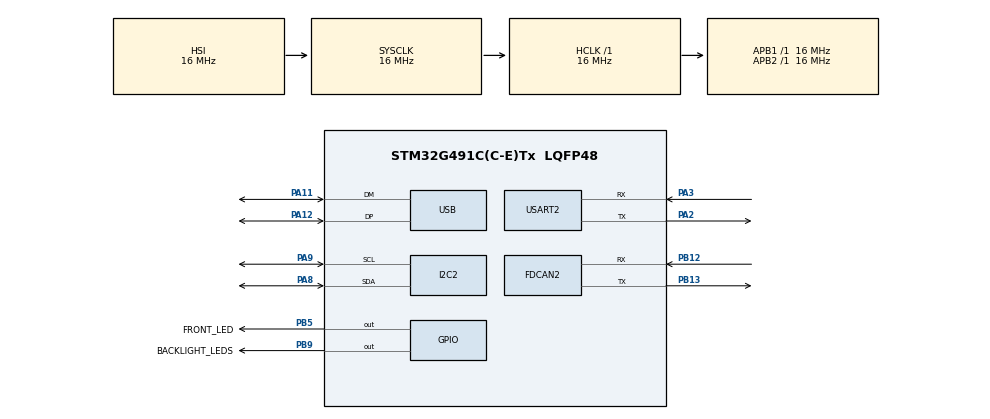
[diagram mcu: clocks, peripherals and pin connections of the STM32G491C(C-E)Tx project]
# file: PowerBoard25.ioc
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FDCAN2.CalculateBaudRateNominal=200000
FDCAN2.CalculateTimeBitNominal=5000
FDCAN2.CalculateTimeQuantumNominal=62.5
FDCAN2.DataSyncJumpWidth=4
FDCAN2.DataTimeSeg1=13
FDCAN2.DataTimeSeg2=2
FDCAN2.ExtFiltersNbr=1
FDCAN2.FrameFormat=FDCAN_FRAME_FD_BRS
FDCAN2.NominalPrescaler=1
FDCAN2.NominalSyncJumpWidth=16
FDCAN2.NominalTimeSeg1=63
FDCAN2.NominalTimeSeg2=16
FDCAN2.StdFiltersNbr=1
FREERTOS.Queues01=sensorQueue,16,uint16_t,0,Dynamic,NULL,NULL
FREERTOS.Tasks01=blinkLED,24,700,StartBlink,Default,NULL,Dynamic,NULL,NULL;readVoltageTask,24,700,startReadVoltageTask,Default,NULL,Dynamic,NULL,NULL;sendMessage,24,700,StartSendMessage,Default,NULL,Dynamic,NULL,NULL
FREERTOS.configENABLE_FPU=1
FREERTOS.configMINIMAL_STACK_SIZE=700
FREERTOS.configTOTAL_HEAP_SIZE=12000
FREERTOS.configUSE_NEWLIB_REENTRANT=1
I2C2.Timing=0x00503D58
Mcu.Family=STM32G4
Mcu.Name=STM32G491C(C-E)Tx
Mcu.Package=LQFP48
NVIC.PriorityGroup=NVIC_PRIORITYGROUP_4
NVIC.TIM1_UP_TIM16_IRQn=true\:15\:0\:false\:false\:true\:false\:false\:true\:true
NVIC.TimeBase=TIM1_UP_TIM16_IRQn
NVIC.TimeBaseIP=TIM1
NVIC.USB_LP_IRQn=true\:5\:0\:false\:false\:true\:true\:false\:true\:true
PA11.Mode=Device
PA11.Signal=USB_DM
PA12.Mode=Device
PA12.Signal=USB_DP
PA13.Mode=JTAG_5_pins
PA13.Signal=SYS_JTMS-SWDIO
PA14.Mode=JTAG_5_pins
PA14.Signal=SYS_JTCK-SWCLK
PA15.Mode=JTAG_5_pins
PA15.Signal=SYS_JTDI
PA2.Mode=Asynchronous
PA2.Signal=USART2_TX
PA3.Mode=Asynchronous
PA3.Signal=USART2_RX
PA8.Mode=I2C
PA8.Signal=I2C2_SDA
PA9.Mode=I2C
PA9.Signal=I2C2_SCL
PB12.Mode=FDCAN_Activate
PB12.Signal=FDCAN2_RX
PB13.Mode=FDCAN_Activate
PB13.Signal=FDCAN2_TX
PB3.Mode=JTAG_5_pins
PB3.Signal=SYS_JTDO-SWO
PB4.Mode=JTAG_5_pins
PB4.Signal=SYS_JTRST
PB5.GPIO_Label=FRONT_LED
PB5.Signal=GPIO_Output
PB9.GPIO_FM9=SYSCFG_FASTMODEPLUS_PB9
PB9.GPIO_Label=BACKLIGHT_LEDS
PB9.PinState=GPIO_PIN_RESET
PB9.Signal=GPIO_Output
PC14-OSC32_IN.Mode=LSE-External-Oscillator
PC14-OSC32_IN.Signal=RCC_OSC32_IN
PC15-OSC32_OUT.Mode=LSE-External-Oscillator
PC15-OSC32_OUT.Signal=RCC_OSC32_OUT
PF0-OSC_IN.Mode=HSE-External-Oscillator
PF0-OSC_IN.Signal=RCC_OSC_IN
PF1-OSC_OUT.Mode=HSE-External-Oscillator
PF1-OSC_OUT.Signal=RCC_OSC_OUT
ProjectManager.HeapSize=0x200
ProjectManager.StackSize=0x400
ProjectManager.TargetToolchain=CMake
RCC.AHBFreq_Value=16000000
RCC.APB1Freq_Value=16000000
RCC.APB1TimFreq_Value=16000000
RCC.APB2Freq_Value=16000000
RCC.APB2TimFreq_Value=16000000
RCC.CortexFreq_Value=16000000
RCC.EXTERNAL_CLOCK_VALUE=12288000
RCC.HCLKFreq_Value=16000000
RCC.HSE_VALUE=8000000
RCC.HSI48_VALUE=48000000
RCC.HSI_VALUE=16000000
RCC.SYSCLKFreq_VALUE=16000000
RCC.VCOOutputFreq_Value=128000000
USART2.VirtualMode-Asynchronous=VM_ASYNC
USB_DEVICE.CLASS_NAME_FS=CDC
USB_DEVICE.VirtualMode=Cdc
USB_DEVICE.VirtualModeFS=Cdc_FS
VP_FREERTOS_VS_CMSIS_V2.Mode=CMSIS_V2
VP_SYS_VS_DBSignals.Mode=DisableDeadBatterySignals
VP_SYS_VS_tim1.Mode=TIM1
VP_USB_DEVICE_VS_USB_DEVICE_CDC_FS.Mode=CDC_FS
board=custom

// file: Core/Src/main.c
/* USER CODE BEGIN Header */
/**
 ******************************************************************************
 * @file           : main.c
 * @brief          : Main program body
 ******************************************************************************
 * @attention
 *
 * Copyright (c) 2025 STMicroelectronics.
 * All rights reserved.
 *
 * This software is licensed under terms that can be found in the LICENSE file
 * in the root directory of this software component.
 * If no LICENSE file comes with this software, it is provided AS-IS.
 *
 ******************************************************************************
 */
/* USER CODE END Header */
#include "main.h"
#include "cmsis_os.h"
#include "usb_device.h"

/* USER CODE BEGIN Includes */
#include "Drivers/ltc2990.h"
#include "usbd_cdc_if.h"
#include <stdarg.h>
/* USER CODE END Includes */

/* USER CODE BEGIN PTD */
typedef struct
{
  float voltages[4];
} instrumentationPayload_t;
/* USER CODE END PTD */

/* USER CODE BEGIN PM */
#define PRINT_BUFFER_SIZE 100
/* USER CODE END PM */

FDCAN_HandleTypeDef hfdcan2;

I2C_HandleTypeDef hi2c2;

UART_HandleTypeDef huart2;

/* Definitions for blinkLED */
osThreadId_t blinkLEDHandle;
const osThreadAttr_t blinkLED_attributes = {
  .name = "blinkLED",
  .priority = (osPriority_t) osPriorityNormal,
  .stack_size = 700 * 4
};
/* Definitions for readVoltageTask */
osThreadId_t readVoltageTaskHandle;
const osThreadAttr_t readVoltageTask_attributes = {
  .name = "readVoltageTask",
  .priority = (osPriority_t) osPriorityNormal,
  .stack_size = 700 * 4
};
/* Definitions for sendMessage */
osThreadId_t sendMessageHandle;
const osThreadAttr_t sendMessage_attributes = {
  .name = "sendMessage",
  .priority = (osPriority_t) osPriorityNormal,
  .stack_size = 700 * 4
};
/* Definitions for sensorQueue */
osMessageQueueId_t sensorQueueHandle;
const osMessageQueueAttr_t sensorQueue_attributes = {
  .name = "sensorQueue"
};
/* USER CODE BEGIN PV */

LTC2990_Handle_t LTC2990_Handle;

/* USER CODE END PV */

void SystemClock_Config(void);
static void MX_GPIO_Init(void);
static void MX_FDCAN2_Init(void);
static void MX_I2C2_Init(void);
static void MX_USART2_UART_Init(void);
void StartBlink(void *argument);
void startReadVoltageTask(void *argument);
void StartSendMessage(void *argument);

/* USER CODE BEGIN 0 */

void CDC_Transmit_Print(const char *format, ...)
{
    char buf[PRINT_BUFFER_SIZE];
    va_list  args;
    va_start(args, format);
    int len = vsnprintf(buf, sizeof(buf), format, args);
    va_end(args);
    if (len <= 0) {
        return;
    }
    if (len > (PRINT_BUFFER_SIZE - 1)) {
        len = PRINT_BUFFER_SIZE - 1;
    }
    CDC_Transmit_FS((uint8_t*)buf, (uint16_t)len);
}

/* USER CODE END 0 */

int main(void)
{

  /* MCU Configuration--------------------------------------------------------*/

  /* Reset of all peripherals, Initializes the Flash interface and the Systick. */
  HAL_Init();

  /* Configure the system clock */
  SystemClock_Config();

  /* Initialize all configured peripherals */
  MX_GPIO_Init();
  MX_FDCAN2_Init();
  MX_I2C2_Init();
  MX_USART2_UART_Init();
  /* USER CODE BEGIN 2 */

  HAL_FDCAN_Start(&hfdcan2);

  /* USER CODE END 2 */

  /* Init scheduler */
  osKernelInitialize();

  /* Create the queue(s) */
  /* creation of sensorQueue */
  sensorQueueHandle = osMessageQueueNew (16, sizeof(uint16_t), &sensorQueue_attributes);

  /* Create the thread(s) */
  /* creation of blinkLED */
  blinkLEDHandle = osThreadNew(StartBlink, NULL, &blinkLED_attributes);

  /* creation of readVoltageTask */
  readVoltageTaskHandle = osThreadNew(startReadVoltageTask, NULL, &readVoltageTask_attributes);

  /* creation of sendMessage */
  sendMessageHandle = osThreadNew(StartSendMessage, NULL, &sendMessage_attributes);

  /* Start scheduler */
  osKernelStart();

  /* We should never get here as control is now taken by the scheduler */

  /* Infinite loop */
  while (1)
  {

  }
}

void SystemClock_Config(void)
{
  RCC_OscInitTypeDef RCC_OscInitStruct = {0};
  RCC_ClkInitTypeDef RCC_ClkInitStruct = {0};

  /** Configure the main internal regulator output voltage
  */
  HAL_PWREx_ControlVoltageScaling(PWR_REGULATOR_VOLTAGE_SCALE1);

  /** Initializes the RCC Oscillators according to the specified parameters
  * in the RCC_OscInitTypeDef structure.
  */
  RCC_OscInitStruct.OscillatorType = RCC_OSCILLATORTYPE_HSI|RCC_OSCILLATORTYPE_HSI48;
  RCC_OscInitStruct.HSIState = RCC_HSI_ON;
  RCC_OscInitStruct.HSICalibrationValue = RCC_HSICALIBRATION_DEFAULT;
  RCC_OscInitStruct.HSI48State = RCC_HSI48_ON;
  RCC_OscInitStruct.PLL.PLLState = RCC_PLL_NONE;
  if (HAL_RCC_OscConfig(&RCC_OscInitStruct) != HAL_OK)
  {
    Error_Handler();
  }

  /** Initializes the CPU, AHB and APB buses clocks
  */
  RCC_ClkInitStruct.ClockType = RCC_CLOCKTYPE_HCLK|RCC_CLOCKTYPE_SYSCLK
                              |RCC_CLOCKTYPE_PCLK1|RCC_CLOCKTYPE_PCLK2;
  RCC_ClkInitStruct.SYSCLKSource = RCC_SYSCLKSOURCE_HSI;
  RCC_ClkInitStruct.AHBCLKDivider = RCC_SYSCLK_DIV1;
  RCC_ClkInitStruct.APB1CLKDivider = RCC_HCLK_DIV1;
  RCC_ClkInitStruct.APB2CLKDivider = RCC_HCLK_DIV1;

  if (HAL_RCC_ClockConfig(&RCC_ClkInitStruct, FLASH_LATENCY_0) != HAL_OK)
  {
    Error_Handler();
  }
}

static void MX_FDCAN2_Init(void)
{

  hfdcan2.Instance = FDCAN2;
  hfdcan2.Init.ClockDivider = FDCAN_CLOCK_DIV1;
  hfdcan2.Init.FrameFormat = FDCAN_FRAME_FD_BRS;
  hfdcan2.Init.Mode = FDCAN_MODE_NORMAL;
  hfdcan2.Init.AutoRetransmission = DISABLE;
  hfdcan2.Init.TransmitPause = DISABLE;
  hfdcan2.Init.ProtocolException = DISABLE;
  hfdcan2.Init.NominalPrescaler = 1;
  hfdcan2.Init.NominalSyncJumpWidth = 16;
  hfdcan2.Init.NominalTimeSeg1 = 63;
  hfdcan2.Init.NominalTimeSeg2 = 16;
  hfdcan2.Init.DataPrescaler = 1;
  hfdcan2.Init.DataSyncJumpWidth = 4;
  hfdcan2.Init.DataTimeSeg1 = 13;
  hfdcan2.Init.DataTimeSeg2 = 2;
  hfdcan2.Init.StdFiltersNbr = 1;
  hfdcan2.Init.ExtFiltersNbr = 1;
  hfdcan2.Init.TxFifoQueueMode = FDCAN_TX_FIFO_OPERATION;
  if (HAL_FDCAN_Init(&hfdcan2) != HAL_OK)
  {
    Error_Handler();
  }

}

static void MX_I2C2_Init(void)
{

  hi2c2.Instance = I2C2;
  hi2c2.Init.Timing = 0x00503D58;
  hi2c2.Init.OwnAddress1 = 0;
  hi2c2.Init.AddressingMode = I2C_ADDRESSINGMODE_7BIT;
  hi2c2.Init.DualAddressMode = I2C_DUALADDRESS_DISABLE;
  hi2c2.Init.OwnAddress2 = 0;
  hi2c2.Init.OwnAddress2Masks = I2C_OA2_NOMASK;
  hi2c2.Init.GeneralCallMode = I2C_GENERALCALL_DISABLE;
  hi2c2.Init.NoStretchMode = I2C_NOSTRETCH_DISABLE;
  if (HAL_I2C_Init(&hi2c2) != HAL_OK)
  {
    Error_Handler();
  }

  /** Configure Analogue filter
  */
  if (HAL_I2CEx_ConfigAnalogFilter(&hi2c2, I2C_ANALOGFILTER_ENABLE) != HAL_OK)
  {
    Error_Handler();
  }

  /** Configure Digital filter
  */
  if (HAL_I2CEx_ConfigDigitalFilter(&hi2c2, 0) != HAL_OK)
  {
    Error_Handler();
  }

}

static void MX_USART2_UART_Init(void)
{

  huart2.Instance = USART2;
  huart2.Init.BaudRate = 115200;
  huart2.Init.WordLength = UART_WORDLENGTH_8B;
  huart2.Init.StopBits = UART_STOPBITS_1;
  huart2.Init.Parity = UART_PARITY_NONE;
  huart2.Init.Mode = UART_MODE_TX_RX;
  huart2.Init.HwFlowCtl = UART_HWCONTROL_NONE;
  huart2.Init.OverSampling = UART_OVERSAMPLING_16;
  huart2.Init.OneBitSampling = UART_ONE_BIT_SAMPLE_DISABLE;
  huart2.Init.ClockPrescaler = UART_PRESCALER_DIV1;
  huart2.AdvancedInit.AdvFeatureInit = UART_ADVFEATURE_NO_INIT;
  if (HAL_UART_Init(&huart2) != HAL_OK)
  {
    Error_Handler();
  }
  if (HAL_UARTEx_SetTxFifoThreshold(&huart2, UART_TXFIFO_THRESHOLD_1_8) != HAL_OK)
  {
    Error_Handler();
  }
  if (HAL_UARTEx_SetRxFifoThreshold(&huart2, UART_RXFIFO_THRESHOLD_1_8) != HAL_OK)
  {
    Error_Handler();
  }
  if (HAL_UARTEx_DisableFifoMode(&huart2) != HAL_OK)
  {
    Error_Handler();
  }

}

static void MX_GPIO_Init(void)
{
  GPIO_InitTypeDef GPIO_InitStruct = {0};

  /* GPIO Ports Clock Enable */
  __HAL_RCC_GPIOC_CLK_ENABLE();
  __HAL_RCC_GPIOF_CLK_ENABLE();
  __HAL_RCC_GPIOA_CLK_ENABLE();
  __HAL_RCC_GPIOB_CLK_ENABLE();

  /*Configure GPIO pin Output Level */
  HAL_GPIO_WritePin(GPIOB, FRONT_LED_Pin|BACKLIGHT_LEDS_Pin, GPIO_PIN_RESET);

  /*Configure GPIO pins : FRONT_LED_Pin BACKLIGHT_LEDS_Pin */
  GPIO_InitStruct.Pin = FRONT_LED_Pin|BACKLIGHT_LEDS_Pin;
  GPIO_InitStruct.Mode = GPIO_MODE_OUTPUT_PP;
  GPIO_InitStruct.Pull = GPIO_NOPULL;
  GPIO_InitStruct.Speed = GPIO_SPEED_FREQ_LOW;
  HAL_GPIO_Init(GPIOB, &GPIO_InitStruct);

  /**/
  __HAL_SYSCFG_FASTMODEPLUS_ENABLE(SYSCFG_FASTMODEPLUS_PB9);

}

void StartBlink(void *argument)
{
  /* init code for USB_Device */
  MX_USB_Device_Init();
  /* USER CODE BEGIN 5 */
  /* Infinite loop */
  for (;;)
  {
    HAL_GPIO_TogglePin(FRONT_LED_GPIO_Port, FRONT_LED_Pin);
    osDelay(100);
  }
  /* USER CODE END 5 */
}

void startReadVoltageTask(void *argument)
{
  /* USER CODE BEGIN startReadVoltageTask */
  LTC2990_Init(&LTC2990_Handle, &hi2c2);
  static const float multipliers[4] = {28.0f / 10.0f, 25.0f / 10.0f, 25.0f / 10.0f, 25.0f / 10.0f};
  /* Infinite loop */
  for (;;)
  {
    LTC2990_Step(&LTC2990_Handle);
    float raw[4];
    LTC2990_Get_Voltage(&LTC2990_Handle, raw);
    instrumentationPayload_t payload;
    for (int i = 0; i < 4; i++)
    {
      payload.voltages[i] = raw[i] * multipliers[i];
    }
    osMessageQueuePut(sensorQueueHandle, &payload, 0, osWaitForever);
    osDelay(50);
  }
  /* USER CODE END startReadVoltageTask */
}

void StartSendMessage(void *argument)
{
  /* USER CODE BEGIN StartSendMessage */
  /* Infinite loop */
  instrumentationPayload_t payload;
  uint8_t txBuf[sizeof(instrumentationPayload_t)];
  FDCAN_TxHeaderTypeDef txHeader = {
      .Identifier = 0x111,
      .IdType = FDCAN_STANDARD_ID,
      .TxFrameType = FDCAN_DATA_FRAME,
      .DataLength = FDCAN_DLC_BYTES_16,
      .ErrorStateIndicator = FDCAN_ESI_ACTIVE,
      .BitRateSwitch = FDCAN_BRS_ON,
      .FDFormat = FDCAN_FD_CAN,
      .TxEventFifoControl = FDCAN_STORE_TX_EVENTS,
      .MessageMarker = 0
  };
  for (;;)
  {
    osMessageQueueGet(sensorQueueHandle, &payload, NULL, osWaitForever);
    memcpy(txBuf, &payload, sizeof(payload));
    HAL_FDCAN_AddMessageToTxFifoQ(&hfdcan2, &txHeader, txBuf);
    osDelay(100);
  }
  /* USER CODE END StartSendMessage */
}

void HAL_TIM_PeriodElapsedCallback(TIM_HandleTypeDef *htim)
{
  if (htim->Instance == TIM1)
  {
    HAL_IncTick();
  }
}

void Error_Handler(void)
{
  __disable_irq();
  while (1)
  {
  }
}
